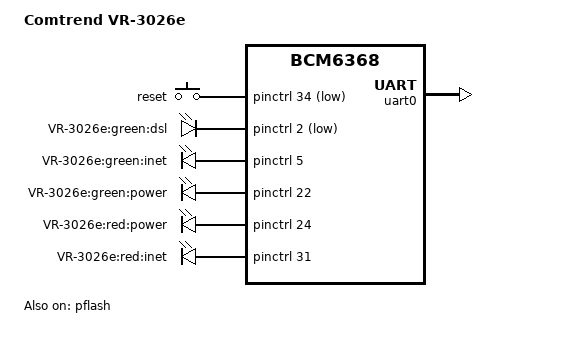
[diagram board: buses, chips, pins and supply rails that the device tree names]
/dts-v1/;

#include "bcm6368.dtsi"

#include <dt-bindings/input/input.h>

/ {
	model = "Comtrend VR-3026e";
	compatible = "comtrend,vr-3026e", "brcm,bcm6368";

	chosen {
		bootargs = "rootfstype=squashfs,jffs2 noinitrd console=ttyS0,115200";
		stdout-path = "serial0:115200n8";
	};

	gpio-keys-polled {
		compatible = "gpio-keys-polled";
		#address-cells = <1>;
		#size-cells = <0>;
		poll-interval = <20>;

		reset {
			label = "reset";
			gpios = <&pinctrl 34 1>;
			linux,code = <KEY_RESTART>;
			debounce-interval = <60>;
		};
	};

	gpio-leds {
		compatible = "gpio-leds";

		dsl_green {
			label = "VR-3026e:green:dsl";
			gpios = <&pinctrl 2 1>;
		};
		inet_green {
			label = "VR-3026e:green:inet";
			gpios = <&pinctrl 5 0>;
		};
		power_green {
			label = "VR-3026e:green:power";
			gpios = <&pinctrl 22 0>;
			default-state = "on";
		};
		power_red {
			label = "VR-3026e:red:power";
			gpios = <&pinctrl 24 0>;
		};
		inet_red {
			label = "VR-3026e:red:inet";
			gpios = <&pinctrl 31 0>;
		};
	};
};

&pflash {
	status = "ok";

	partitions {
		compatible = "fixed-partitions";
		#address-cells = <1>;
		#size-cells = <1>;

		cfe@0 {
			label = "CFE";
			reg = <0x000000 0x010000>;
			read-only;
		};

		linux@10000 {
			label = "linux";
			reg = <0x010000 0x7e0000>;
			compatible = "brcm,bcm963xx-imagetag";
		};

		nvram@7f0000 {
			label = "nvram";
			reg = <0x7f0000 0x010000>;
		};
	};
};

&pinctrl {
	pinctrl-names = "default";
	pinctrl-0 = <&pinctrl_pci &pinctrl_ephy0_led &pinctrl_ephy1_led
		     &pinctrl_ephy2_led &pinctrl_ephy3_led>;
};

&uart0 {
	status = "ok";
};
